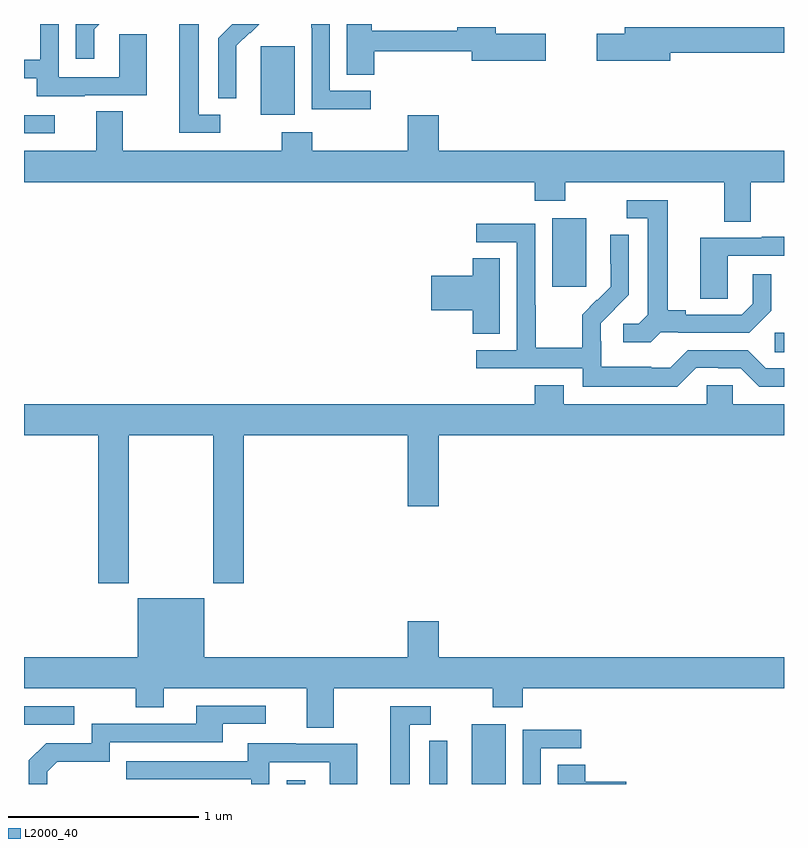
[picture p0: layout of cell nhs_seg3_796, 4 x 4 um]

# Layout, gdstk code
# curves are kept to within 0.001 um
import gdstk
lib = gdstk.Library(unit=1e-6, precision=1e-09)
def R(c, l, rs):  # rectangles x0, y0, x1, y1
    for r in rs: c.add(gdstk.rectangle(r[:2], r[2:], *l))
def P(c, l, *ps):  # polygons
    for p in ps: c.add(gdstk.Polygon(p, *l))
L2000_40 = (2000, 40)

nhs_seg3_796 = lib.new_cell('nhs_seg3_796')
R(nhs_seg3_796, L2000_40, [(152.382,712.4,152.479,712.42), (153.356,712.4,153.535,712.714), (151,712.713,151.264,712.809), (154.95,714.673,155,714.774), (153.779,715.017,153.958,715.378), (151,715.824,151.162,715.92), (152.246,715.922,152.425,716.283)])
P(nhs_seg3_796, L2000_40, [(151.321,716.025),(151.645,716.025),(151.645,716.345),(151.5,716.345),(151.5,716.121),(151.182,716.121),(151.182,716.4),(151.086,716.4),(151.086,716.211),(151,716.211),(151,716.115),(151.067,716.115),(151.067,716.021),(151.321,716.021)],
  [(152.843,716.256),(153.356,716.256),(153.356,716.206),(153.745,716.206),(153.745,716.348),(153.484,716.348),(153.484,716.384),(153.28,716.384),(153.28,716.365),(152.83,716.365),(152.83,716.4),(152.699,716.4),(152.699,716.134),(152.843,716.134)],
  [(152.032,715.923),(151.921,715.923),(151.921,716.4),(151.817,716.4),(151.817,715.827),(152.032,715.827)],
  [(151.369,716.373),(151.396,716.4),(151.272,716.4),(151.272,716.217),(151.369,716.217)],
  [(152.824,716.049),(152.61,716.049),(152.61,716.4),(152.512,716.4),(152.512,716.38),(152.514,716.38),(152.514,715.951),(152.824,715.951)],
  [(152.118,716.162),(152.117,716.162),(152.117,716.285),(152.187,716.355),(152.19,716.352),(152.238,716.4),(152.094,716.4),(152.095,716.399),(152.022,716.326),(152.022,716.008),(152.118,716.008)],
  [(154.402,716.248),(155,716.248),(155,716.384),(154.163,716.384),(154.163,716.348),(154.014,716.348),(154.014,716.206),(154.402,716.206)],
  [(154.825,715.568),(155,715.568),(155,715.732),(153.184,715.732),(153.184,715.921),(153.02,715.921),(153.02,715.732),(152.516,715.732),(152.516,715.831),(152.356,715.831),(152.356,715.732),(151.519,715.732),(151.519,715.94),(151.379,715.94),(151.379,715.732),(151,715.732),(151,715.568),(153.689,715.568),(153.689,715.469),(153.849,715.469),(153.849,715.568),(154.685,715.568),(154.685,715.36),(154.825,715.36)],
  [(154.35,714.777),(154.444,714.777),(154.444,714.774),(154.816,714.774),(154.932,714.89),(154.932,715.084),(154.835,715.084),(154.835,714.927),(154.778,714.87),(154.483,714.87),(154.483,714.893),(154.387,714.893),(154.387,715.473),(154.173,715.473),(154.173,715.377),(154.283,715.377),(154.283,714.869),(154.236,714.822),(154.155,714.822),(154.155,714.725),(154.298,714.725)],
  [(154.539,714.591),(154.655,714.591),(154.655,714.588),(154.773,714.588),(154.869,714.492),(155,714.492),(155,714.588),(154.905,714.588),(154.809,714.684),(154.494,714.684),(154.401,714.591),(154.301,714.591),(154.301,714.595),(154.038,714.595),(154.038,714.729),(154.036,714.729),(154.036,714.826),(154.182,714.974),(154.182,715.292),(154.086,715.292),(154.086,715.138),(154.088,715.138),(154.088,715.016),(154.017,714.945),(154.014,714.948),(153.937,714.871),(153.937,714.697),(153.693,714.697),(153.693,714.92),(153.69,714.92),(153.69,715.35),(153.381,715.35),(153.381,715.251),(153.594,715.251),(153.594,714.684),(153.381,714.684),(153.381,714.588),(153.942,714.588),(153.942,714.491),(154.439,714.491)],
  [(154.704,715.179),(155,715.179),(155,715.279),(154.883,715.279),(154.883,715.275),(154.559,715.275),(154.559,714.955),(154.704,714.955)],
  [(153.505,715.166),(153.362,715.166),(153.362,715.076),(153.144,715.076),(153.144,714.893),(153.362,714.893),(153.362,714.769),(153.505,714.769)],
  [(151.551,714.236),(151.996,714.236),(151.996,713.457),(152.156,713.457),(152.156,714.236),(153.02,714.236),(153.02,713.862),(153.184,713.862),(153.184,714.236),(155,714.236),(155,714.4),(154.731,714.4),(154.731,714.498),(154.593,714.498),(154.593,714.4),(153.841,714.4),(153.841,714.499),(153.689,714.499),(153.689,714.4),(151,714.4),(151,714.236),(151.391,714.236),(151.391,713.457),(151.551,713.457)],
  [(152.629,712.904),(153.466,712.904),(153.466,712.805),(153.626,712.805),(153.626,712.904),(155,712.904),(155,713.068),(153.184,713.068),(153.184,713.257),(153.02,713.257),(153.02,713.068),(151.948,713.068),(151.948,713.377),(151.598,713.377),(151.598,713.068),(151,713.068),(151,712.904),(151.588,712.904),(151.588,712.805),(151.735,712.805),(151.735,712.904),(152.489,712.904),(152.489,712.696),(152.629,712.696)],
  [(151.122,712.464),(151.175,712.517),(151.452,712.517),(151.452,712.62),(152.047,712.62),(152.047,712.716),(152.272,712.716),(152.272,712.812),(151.907,712.812),(151.907,712.716),(151.356,712.716),(151.356,712.614),(151.116,712.614),(151.026,712.524),(151.026,712.4),(151.122,712.4)],
  [(153.031,712.713),(153.142,712.713),(153.142,712.809),(152.927,712.809),(152.927,712.4),(153.031,712.4)],
  [(153.72,712.587),(153.934,712.587),(153.934,712.686),(153.624,712.686),(153.624,712.4),(153.72,712.4)],
  [(153.227,712.474),(153.228,712.474),(153.228,712.628),(153.132,712.628),(153.132,712.4),(153.227,712.4)],
  [(152.292,712.515),(152.61,712.515),(152.61,712.4),(152.755,712.4),(152.755,712.611),(152.431,712.611),(152.431,712.615),(152.177,712.615),(152.177,712.521),(151.537,712.521),(151.537,712.425),(152.196,712.425),(152.196,712.4),(152.292,712.4)],
  [(154.171,712.412),(153.953,712.412),(153.953,712.502),(153.809,712.502),(153.809,712.4),(154.171,712.4)])

lib.write_gds('nhs_seg3_796.gds')
